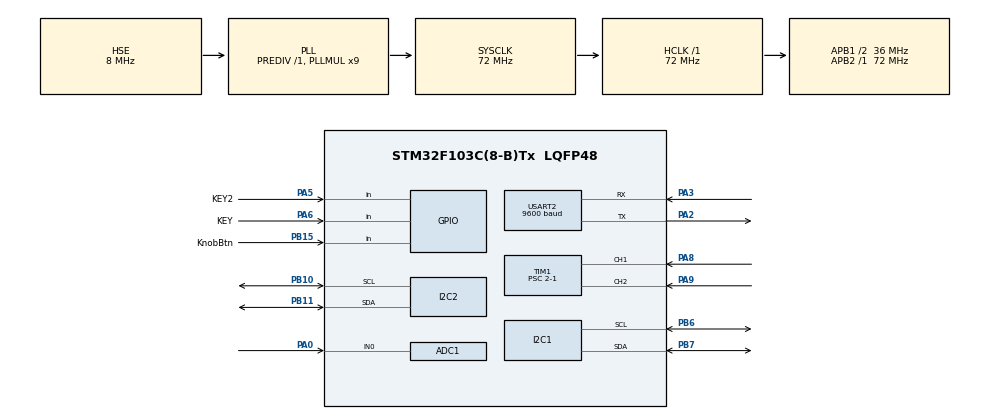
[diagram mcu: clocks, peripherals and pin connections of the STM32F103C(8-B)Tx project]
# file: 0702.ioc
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ADC1.Channel-1\#ChannelRegularConversion=ADC_CHANNEL_0
ADC1.NbrOfConversionFlag=1
ADC1.Rank-1\#ChannelRegularConversion=1
ADC1.SamplingTime-1\#ChannelRegularConversion=ADC_SAMPLETIME_239CYCLES_5
ADC1.master=1
Dma.Request0=USART2_RX
Dma.Request1=USART2_TX
Dma.USART2_RX.0.Direction=DMA_PERIPH_TO_MEMORY
Dma.USART2_RX.0.Instance=DMA1_Channel6
Dma.USART2_RX.0.MemDataAlignment=DMA_MDATAALIGN_BYTE
Dma.USART2_RX.0.MemInc=DMA_MINC_ENABLE
Dma.USART2_RX.0.Mode=DMA_NORMAL
Dma.USART2_RX.0.PeriphDataAlignment=DMA_PDATAALIGN_BYTE
Dma.USART2_RX.0.PeriphInc=DMA_PINC_DISABLE
Dma.USART2_RX.0.Priority=DMA_PRIORITY_LOW
Dma.USART2_TX.1.Direction=DMA_MEMORY_TO_PERIPH
Dma.USART2_TX.1.Instance=DMA1_Channel7
Dma.USART2_TX.1.MemDataAlignment=DMA_MDATAALIGN_BYTE
Dma.USART2_TX.1.MemInc=DMA_MINC_ENABLE
Dma.USART2_TX.1.Mode=DMA_NORMAL
Dma.USART2_TX.1.PeriphDataAlignment=DMA_PDATAALIGN_BYTE
Dma.USART2_TX.1.PeriphInc=DMA_PINC_DISABLE
Dma.USART2_TX.1.Priority=DMA_PRIORITY_LOW
FREERTOS.Tasks01=UITask,8,128,StartUITask,Default,NULL,Dynamic,NULL,NULL;mpu6050Task,32,128,Startmpu6050Task,Default,NULL,Dynamic,NULL,NULL;ServiceTask,8,128,StartServiceTask,Default,NULL,Dynamic,NULL,NULL
FREERTOS.configUSE_NEWLIB_REENTRANT=1
I2C1.I2C_Mode=I2C_Fast
I2C2.I2C_Mode=I2C_Fast
Mcu.Family=STM32F1
Mcu.Name=STM32F103C(8-B)Tx
Mcu.Package=LQFP48
NVIC.DMA1_Channel6_IRQn=true\:5\:0\:false\:false\:true\:true\:false\:true\:true
NVIC.DMA1_Channel7_IRQn=true\:5\:0\:false\:false\:true\:true\:false\:true\:true
NVIC.PriorityGroup=NVIC_PRIORITYGROUP_4
NVIC.TIM4_IRQn=true\:15\:0\:false\:false\:true\:false\:false\:true\:true
NVIC.TimeBase=TIM4_IRQn
NVIC.TimeBaseIP=TIM4
NVIC.USART2_IRQn=true\:5\:0\:false\:false\:true\:true\:true\:true\:true
PA0-WKUP.Signal=ADCx_IN0
PA13.Mode=Serial_Wire
PA13.Signal=SYS_JTMS-SWDIO
PA14.Mode=Serial_Wire
PA14.Signal=SYS_JTCK-SWCLK
PA2.Mode=Asynchronous
PA2.Signal=USART2_TX
PA3.Mode=Asynchronous
PA3.Signal=USART2_RX
PA5.GPIO_Label=KEY2
PA5.GPIO_PuPd=GPIO_PULLUP
PA5.Signal=GPIO_Input
PA6.GPIO_Label=KEY
PA6.GPIO_PuPd=GPIO_PULLUP
PA6.Signal=GPIO_Input
PA8.Signal=S_TIM1_CH1
PA9.Signal=S_TIM1_CH2
PB10.Mode=I2C
PB10.Signal=I2C2_SCL
PB11.Mode=I2C
PB11.Signal=I2C2_SDA
PB15.GPIO_Label=KnobBtn
PB15.GPIO_PuPd=GPIO_PULLUP
PB15.Signal=GPIO_Input
PB6.Mode=I2C
PB6.Signal=I2C1_SCL
PB7.Mode=I2C
PB7.Signal=I2C1_SDA
PC14-OSC32_IN.Mode=LSE-External-Oscillator
PC14-OSC32_IN.Signal=RCC_OSC32_IN
PC15-OSC32_OUT.Mode=LSE-External-Oscillator
PC15-OSC32_OUT.Signal=RCC_OSC32_OUT
PD0-OSC_IN.Mode=HSE-External-Oscillator
PD0-OSC_IN.Signal=RCC_OSC_IN
PD1-OSC_OUT.Mode=HSE-External-Oscillator
PD1-OSC_OUT.Signal=RCC_OSC_OUT
ProjectManager.HeapSize=0x200
ProjectManager.StackSize=0x400
ProjectManager.TargetToolchain=STM32CubeIDE
RCC.ADCPresc=RCC_ADCPCLK2_DIV6
RCC.AHBFreq_Value=72000000
RCC.APB1CLKDivider=RCC_HCLK_DIV2
RCC.APB1Freq_Value=36000000
RCC.APB1TimFreq_Value=72000000
RCC.APB2Freq_Value=72000000
RCC.APB2TimFreq_Value=72000000
RCC.HCLKFreq_Value=72000000
RCC.PLLMUL=RCC_PLL_MUL9
RCC.PLLSourceVirtual=RCC_PLLSOURCE_HSE
RCC.RTCClockSelection=RCC_RTCCLKSOURCE_LSE
RCC.SYSCLKFreq_VALUE=72000000
RCC.SYSCLKSource=RCC_SYSCLKSOURCE_PLLCLK
RCC.USBFreq_Value=72000000
SH.ADCx_IN0.0=ADC1_IN0,IN0
SH.S_TIM1_CH1.0=TIM1_CH1,Encoder_Interface
SH.S_TIM1_CH2.0=TIM1_CH2,Encoder_Interface
TIM1.IC1Filter=15
TIM1.IC2Filter=15
TIM1.IC2Polarity=TIM_ICPOLARITY_FALLING
TIM1.Prescaler=2-1
USART2.BaudRate=9600
USART2.VirtualMode=VM_ASYNC
VP_FREERTOS_VS_CMSIS_V2.Mode=CMSIS_V2
VP_RTC_VS_RTC_Activate.Mode=RTC_Enabled
VP_SYS_VS_tim4.Mode=TIM4
board=custom

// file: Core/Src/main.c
/* USER CODE BEGIN Header */
/**
  ******************************************************************************
  * @file           : main.c
  * @brief          : Main program body
  ******************************************************************************
  * @attention
  *
  * Copyright (c) 2026 STMicroelectronics.
  * All rights reserved.
  *
  * This software is licensed under terms that can be found in the LICENSE file
  * in the root directory of this software component.
  * If no LICENSE file comes with this software, it is provided AS-IS.
  *
  ******************************************************************************
  */
/* USER CODE END Header */
#include "main.h"
#include "cmsis_os.h"
#include "adc.h"
#include "dma.h"
#include "i2c.h"
#include "rtc.h"
#include "tim.h"
#include "usart.h"
#include "gpio.h"

void SystemClock_Config(void);
void MX_FREERTOS_Init(void);

int main(void)
{

  /* MCU Configuration--------------------------------------------------------*/

  /* Reset of all peripherals, Initializes the Flash interface and the Systick. */
  HAL_Init();

  /* Configure the system clock */
  SystemClock_Config();

  /* Initialize all configured peripherals */
  MX_GPIO_Init();
  MX_DMA_Init();
  MX_I2C1_Init();
  MX_I2C2_Init();
  MX_RTC_Init();
  MX_TIM1_Init();
  MX_USART2_UART_Init();
  MX_ADC1_Init();

  /* Init scheduler */
  osKernelInitialize();  /* Call init function for freertos objects (in cmsis_os2.c) */
  MX_FREERTOS_Init();

  /* Start scheduler */
  osKernelStart();

  /* We should never get here as control is now taken by the scheduler */

  /* Infinite loop */
  while (1)
  {

  }
}

void SystemClock_Config(void)
{
  RCC_OscInitTypeDef RCC_OscInitStruct = {0};
  RCC_ClkInitTypeDef RCC_ClkInitStruct = {0};
  RCC_PeriphCLKInitTypeDef PeriphClkInit = {0};

  /** Initializes the RCC Oscillators according to the specified parameters
  * in the RCC_OscInitTypeDef structure.
  */
  RCC_OscInitStruct.OscillatorType = RCC_OSCILLATORTYPE_HSE|RCC_OSCILLATORTYPE_LSE;
  RCC_OscInitStruct.HSEState = RCC_HSE_ON;
  RCC_OscInitStruct.HSEPredivValue = RCC_HSE_PREDIV_DIV1;
  RCC_OscInitStruct.LSEState = RCC_LSE_ON;
  RCC_OscInitStruct.HSIState = RCC_HSI_ON;
  RCC_OscInitStruct.PLL.PLLState = RCC_PLL_ON;
  RCC_OscInitStruct.PLL.PLLSource = RCC_PLLSOURCE_HSE;
  RCC_OscInitStruct.PLL.PLLMUL = RCC_PLL_MUL9;
  if (HAL_RCC_OscConfig(&RCC_OscInitStruct) != HAL_OK)
  {
    Error_Handler();
  }

  /** Initializes the CPU, AHB and APB buses clocks
  */
  RCC_ClkInitStruct.ClockType = RCC_CLOCKTYPE_HCLK|RCC_CLOCKTYPE_SYSCLK
                              |RCC_CLOCKTYPE_PCLK1|RCC_CLOCKTYPE_PCLK2;
  RCC_ClkInitStruct.SYSCLKSource = RCC_SYSCLKSOURCE_PLLCLK;
  RCC_ClkInitStruct.AHBCLKDivider = RCC_SYSCLK_DIV1;
  RCC_ClkInitStruct.APB1CLKDivider = RCC_HCLK_DIV2;
  RCC_ClkInitStruct.APB2CLKDivider = RCC_HCLK_DIV1;

  if (HAL_RCC_ClockConfig(&RCC_ClkInitStruct, FLASH_LATENCY_2) != HAL_OK)
  {
    Error_Handler();
  }
  PeriphClkInit.PeriphClockSelection = RCC_PERIPHCLK_RTC|RCC_PERIPHCLK_ADC;
  PeriphClkInit.RTCClockSelection = RCC_RTCCLKSOURCE_LSE;
  PeriphClkInit.AdcClockSelection = RCC_ADCPCLK2_DIV6;
  if (HAL_RCCEx_PeriphCLKConfig(&PeriphClkInit) != HAL_OK)
  {
    Error_Handler();
  }
}

void HAL_TIM_PeriodElapsedCallback(TIM_HandleTypeDef *htim)
{
  if (htim->Instance == TIM4)
  {
    HAL_IncTick();
  }
}

void Error_Handler(void)
{
  __disable_irq();
  while (1)
  {
  }
}

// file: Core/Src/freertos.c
/* USER CODE BEGIN Header */
/**
  ******************************************************************************
  * File Name          : freertos.c
  * Description        : Code for freertos applications
  ******************************************************************************
  * @attention
  *
  * Copyright (c) 2026 STMicroelectronics.
  * All rights reserved.
  *
  * This software is licensed under terms that can be found in the LICENSE file
  * in the root directory of this software component.
  * If no LICENSE file comes with this software, it is provided AS-IS.
  *
  ******************************************************************************
  */
/* USER CODE END Header */

#include "FreeRTOS.h"
#include "task.h"
#include "main.h"
#include "cmsis_os.h"

/* USER CODE BEGIN Includes */
#include "task_main.h"
#include "kk_knob.h"
#include "adc.h"
#include <stdio.h>

/* USER CODE END Includes */

/* USER CODE BEGIN PD */
uint8_t work_mode = 0;
uint8_t oled_mode = 0; //0--菜单 1--功能
struct tm* now ;
uint32_t counter;

//uint16_t adc_val;
//float battery_v;
//
//int v_int;
//int v_dec;

#define MENU_NUM 4
#define COUNTER_INIT_VALUE 65535/2
#define OLED_SLEEP_TIME    10000    //10秒

uint32_t lastOperateTick = 0;
uint8_t oled_sleep = 0;
/* USER CODE END PD */

/* USER CODE BEGIN PM */

void showVoltage(void)
{

	char str[20];

	sprintf(str, "Voltage:%d.%02dV", v_int, v_dec);
	OLED_PrintASCIIString(16,32,str,&afont16x8, OLED_COLOR_NORMAL);
}

/* USER CODE END PM */

/* Definitions for UITask */
osThreadId_t UITaskHandle;
const osThreadAttr_t UITask_attributes = {
  .name = "UITask",
  .stack_size = 128 * 4,
  .priority = (osPriority_t) osPriorityLow,
};
/* Definitions for mpu6050Task */
osThreadId_t mpu6050TaskHandle;
const osThreadAttr_t mpu6050Task_attributes = {
  .name = "mpu6050Task",
  .stack_size = 128 * 4,
  .priority = (osPriority_t) osPriorityAboveNormal,
};
/* Definitions for ServiceTask */
osThreadId_t ServiceTaskHandle;
const osThreadAttr_t ServiceTask_attributes = {
  .name = "ServiceTask",
  .stack_size = 128 * 4,
  .priority = (osPriority_t) osPriorityLow,
};

void StartUITask(void *argument);
void Startmpu6050Task(void *argument);
void StartServiceTask(void *argument);

void MX_FREERTOS_Init(void); /* (MISRA C 2004 rule 8.1) */

void MX_FREERTOS_Init(void) {

  /* Create the thread(s) */
  /* creation of UITask */
  UITaskHandle = osThreadNew(StartUITask, NULL, &UITask_attributes);

  /* creation of mpu6050Task */
  mpu6050TaskHandle = osThreadNew(Startmpu6050Task, NULL, &mpu6050Task_attributes);

  /* creation of ServiceTask */
  ServiceTaskHandle = osThreadNew(StartServiceTask, NULL, &ServiceTask_attributes);

}

void StartUITask(void *argument)
{
  /* USER CODE BEGIN StartUITask */
		 HAL_Delay(20);
		 OLED_Init();
		 Knob_Init();

		 lastOperateTick = HAL_GetTick();
		 oled_sleep = 0;

		 for(;;)
		 {
		     counter = __HAL_TIM_GET_COUNTER(&htim1);

		     /*==========================
		       编码器顺时针
		     ==========================*/
		     if(counter >= COUNTER_INIT_VALUE + 4)
		     {
		         /* 如果OLED已经休眠，则先唤醒 */
		         if(oled_sleep)
		         {
		             OLED_DisPlay_On();

		             work_mode = 0;
		             oled_mode = 0;

		             __HAL_TIM_SET_COUNTER(&htim1, COUNTER_INIT_VALUE);

		             lastOperateTick = HAL_GetTick();

		             oled_sleep = 0;

		             continue;
		         }

		         work_mode++;

		         if(work_mode >= MENU_NUM)
		             work_mode = 0;

		         __HAL_TIM_SET_COUNTER(&htim1, COUNTER_INIT_VALUE);

		         lastOperateTick = HAL_GetTick();
		     }

		     /*==========================
		       编码器逆时针
		     ==========================*/
		     else if(counter <= COUNTER_INIT_VALUE - 4)
		     {
		         if(oled_sleep)
		         {
		             OLED_DisPlay_On();

		             work_mode = 0;
		             oled_mode = 0;

		             __HAL_TIM_SET_COUNTER(&htim1, COUNTER_INIT_VALUE);

		             lastOperateTick = HAL_GetTick();

		             oled_sleep = 0;

		             continue;
		         }

		         if(work_mode == 0)
		             work_mode = MENU_NUM - 1;
		         else
		             work_mode--;

		         __HAL_TIM_SET_COUNTER(&htim1, COUNTER_INIT_VALUE);

		         lastOperateTick = HAL_GetTick();
		     }

		     /*==========================
		       按键
		     ==========================*/
		     if(HAL_GPIO_ReadPin(KEY_GPIO_Port, KEY_Pin) == GPIO_PIN_RESET)
		     {
		         osDelay(10);

		         if(HAL_GPIO_ReadPin(KEY_GPIO_Port, KEY_Pin) == GPIO_PIN_RESET)
		         {
		             if(oled_sleep)
		             {
		                 OLED_DisPlay_On();

		                 work_mode = 0;
		                 oled_mode = 0;

		                 __HAL_TIM_SET_COUNTER(&htim1, COUNTER_INIT_VALUE);

		                 lastOperateTick = HAL_GetTick();

		                 oled_sleep = 0;

		                 while(HAL_GPIO_ReadPin(KEY_GPIO_Port, KEY_Pin) == GPIO_PIN_RESET);

		                 continue;
		             }

		             oled_mode = !oled_mode;

		             lastOperateTick = HAL_GetTick();

		             while(HAL_GPIO_ReadPin(KEY_GPIO_Port, KEY_Pin) == GPIO_PIN_RESET);
		         }
		     }

		     /*==========================
		       10秒无操作自动熄屏
		     ==========================*/
		     if((HAL_GetTick() - lastOperateTick) >= OLED_SLEEP_TIME)
		     {
		         if(!oled_sleep)
		         {
		             OLED_DisPlay_Off();

		             oled_sleep = 1;

		             /* 恢复默认界面 */
		             work_mode = 0;
		             oled_mode = 0;

		             __HAL_TIM_SET_COUNTER(&htim1, COUNTER_INIT_VALUE);
		         }
		     }

		     /*==========================
		       熄屏后停止刷新OLED
		     ==========================*/
		     if(oled_sleep)
		     {
		         osDelay(20);
		         continue;
		     }

		     /*==========================
		       OLED显示
		     ==========================*/
		     OLED_NewFrame();

		     if(work_mode == 0)
		     {
		         if(oled_mode == 0)
		         {
		             OLED_DrawImage(50,20,&xyyImg,OLED_COLOR_NORMAL);
		             OLED_PrintString(20,0,"xyy智能手表",&font16x16,OLED_COLOR_NORMAL);

		         }
		         else
		         {
		             OLED_PrintString(20,20,"xyy智能手表",&font16x16,OLED_COLOR_NORMAL);
		         }
		     }
		     else if(work_mode == 1)
		     {
		         if(oled_mode == 0)
		         {
//		             OLED_DrawImage(32,10,&timeImg,OLED_COLOR_NORMAL);
		        	 showTime(now);
		         }
		         else
		         {
		             showTime(now);
		         }
		     }
		     else if(work_mode == 2)
		     {
		         if(oled_mode == 0)
		         {
		             OLED_DrawImage(80,10,&countImg,OLED_COLOR_NORMAL);
		             OLED_PrintString(0,0,"步数",&font16x16,OLED_COLOR_NORMAL);
		             showStep();
		         }
		         else
		         {
		             OLED_PrintString(0,0,"步数",&font16x16,OLED_COLOR_NORMAL);
		             showStep();
		         }
		     }
		     else if(work_mode == 3)
		     {
		         if(oled_mode == 0)
		         {
		             OLED_DrawImage(32,10,&gameImg,OLED_COLOR_NORMAL);
		             OLED_PrintString(0,0,"I love Embedded Systems",&font16x16,OLED_COLOR_NORMAL);
		         }
		         else
		         {
		             OLED_PrintString(0,0,"I love Embedded Systems",&font16x16,OLED_COLOR_NORMAL);
//		             showVoltage();
		         }
		     }

		     OLED_ShowFrame();

		     osDelay(10);
		 }
  /* USER CODE END StartUITask */
}

void Startmpu6050Task(void *argument)
{
  /* USER CODE BEGIN Startmpu6050Task */
	MPU6050_Accel_t accel;
	MPU6050_Init();
	StepCounter_Init();
  /* Infinite loop */
  for(;;)
  {
	  //计算步数
	  if(MPU6050_ReadAccel(&accel)==0)
	  {

	    StepCounter_Update(&accel);

	   }
	  osDelay(20);
  }
  /* USER CODE END Startmpu6050Task */
}

void StartServiceTask(void *argument)
{
  /* USER CODE BEGIN StartServiceTask */
	KK_RTC_Init();
	char txBuf[32];
  /* Infinite loop */
  for(;;)
  {
	  //时间读取
	  now = KK_RTC_GetTime();

	  //蓝牙发送

		  sprintf(txBuf,"STEP:%lu\r\n",stepCount);
		  HAL_UART_Transmit(&huart2, (uint8_t *)txBuf, strlen(txBuf), HAL_MAX_DELAY);
		  osDelay(500);      //500ms发送一次

  }
  /* USER CODE END StartServiceTask */
}
